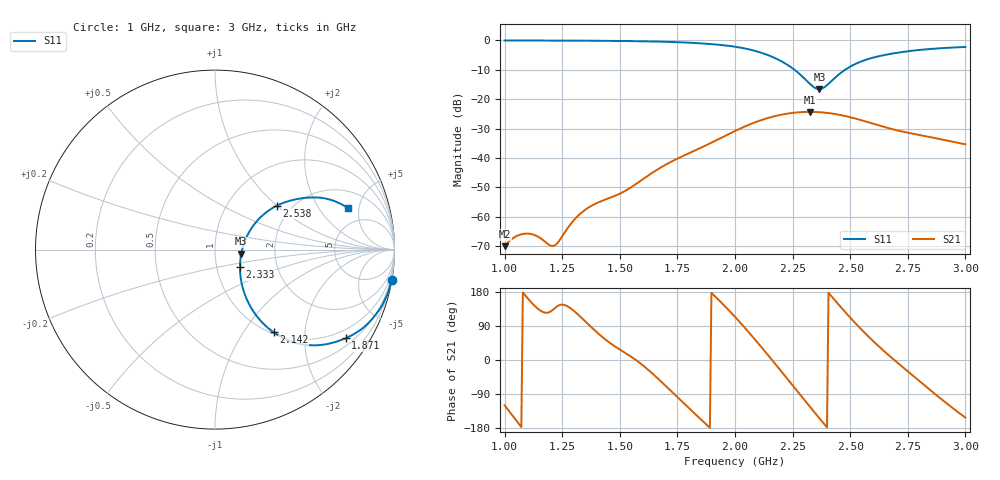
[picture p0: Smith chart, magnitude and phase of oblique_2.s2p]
! TOUCHSTONE file generated by CST MICROWAVE STUDIO
! Date and time: Tue Mar 18 00:00:42 2025
! Project name: oblique.cst
! Parameters = {Tilt=30; Fracture=1; B=10; D=160; F=5; Feed=2.85625; L=100; M=10; R=0.384908; S=1; Theta=180; length=57.125; wave=114.25}
! Header version: 2024
! Port assignment regex: !\s*Touchstone port\s*([0-9]+)\s*=\s*(CST MWS port|CST DES external port|CST DES block port)\s*(.+)\s* \(\"(.*)\"\)(\s*mode\s*([0-9]+))?.*
! Touchstone port assignment:
! Touchstone port 1 = CST MWS port 1 ("")
! Touchstone port 2 = CST MWS port 2 ("")
# GHz S DB R 50
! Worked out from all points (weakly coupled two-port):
!   304 points, 1 GHz to 3 GHz, reference 50 ohm
!   highest |S21| = -24.32 dB at 2.327 GHz (marker M1); lowest = -70.0 dB at 1 GHz (marker M2)
!   lowest |S11| = -16.6 dB at 2.366 GHz (marker M3), VSWR 1.35, Z = 67 - j3.16 ohm
!   |S11| at or under -10 dB: 2.258 GHz to 2.478 GHz (219.5 MHz wide, 9.27 % of centre)
!   S12 and S22 are empty: the file has one direction only
!   S11 on the Smith chart (normalised r, x): 1 GHz: 0, -12; 1.871 GHz: 0.71, -3.11; 2.142 GHz: 1.02, -1.38; 2.333 GHz: 1.29, -0.26; 2.538 GHz: 1.68, +1.00; 3 GHz: 3.25, +3.80
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1  -0.02 -9.8  -70.01 -119.6  -200.00 0.0  -200.00 0.0
1.0462  -0.02 -10.4  -66.81 -156.3  -200.00 0.0  -200.00 0.0
1.09241  -0.03 -11.1  -65.74 168.3  -200.00 0.0  -200.00 0.0
1.13201  -0.04 -11.7  -66.29 141.9  -200.00 0.0  -200.00 0.0
1.19802  -0.04 -12.7  -69.77 127.5  -200.00 0.0  -200.00 0.0
1.21782  -0.05 -13.1  -69.75 136.9  -200.00 0.0  -200.00 0.0
1.29043  -0.07 -14.4  -62.12 134.7  -200.00 0.0  -200.00 0.0
1.33663  -0.09 -15.3  -58.42 109.9  -200.00 0.0  -200.00 0.0
1.52145  -0.21 -19.8  -51.29 19.5  -200.00 0.0  -200.00 0.0
1.66667  -0.41 -24.4  -43.77 -49.7  -200.00 0.0  -200.00 0.0
1.87129  -1.11 -34.1  -35.82 -167.5  -200.00 0.0  -200.00 0.0
2.0033  -2.19 -43.3  -30.70 111.7  -200.00 0.0  -200.00 0.0
2.14191  -4.97 -54.7  -26.43 14.0  -200.00 0.0  -200.00 0.0
2.24092  -9.01 -57.9  -24.76 -60.0  -200.00 0.0  -200.00 0.0
2.32673  -14.91 -39.2  -24.32 -124.4  -200.00 0.0  -200.00 0.0
2.33333  -15.38 -35.2  -24.32 -129.4  -200.00 0.0  -200.00 0.0
2.33993  -15.80 -30.8  -24.33 -134.3  -200.00 0.0  -200.00 0.0
2.36634  -16.60 -9.0  -24.43 -153.8  -200.00 0.0  -200.00 0.0
2.45875  -11.07 34.1  -25.40 140.0  -200.00 0.0  -200.00 0.0
2.53795  -7.47 35.4  -26.92 87.3  -200.00 0.0  -200.00 0.0
2.66997  -4.66 29.6  -29.94 11.1  -200.00 0.0  -200.00 0.0
3  -2.22 17.6  -35.33 -152.1  -200.00 0.0  -200.00 0.0
